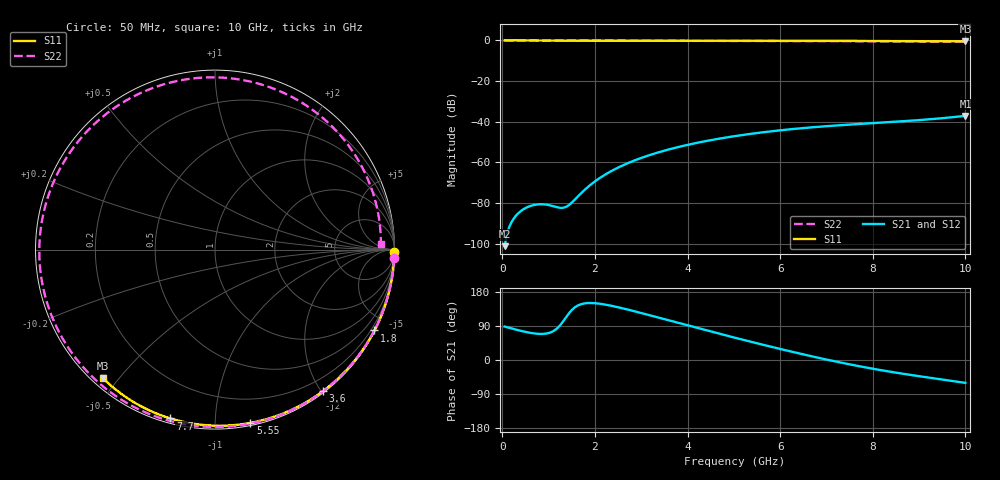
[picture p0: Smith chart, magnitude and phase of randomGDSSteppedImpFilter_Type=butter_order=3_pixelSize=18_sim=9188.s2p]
! freq	dB(S11)	phase(S11)	dB(S12)	phase(S12)
!  dB(S21)	phase(S21)	dB(S22)	phase(S22)
!S-par simulation data
#  GHz  S  DB  R 50
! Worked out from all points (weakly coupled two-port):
!   200 points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, 50 MHz to 10 GHz, reference 50 ohm
!   highest |S21| = -37.09 dB at 10 GHz (marker M1); lowest = -101.2 dB at 50 MHz (marker M2)
!   lowest |S11| = -0.4 dB at 10 GHz (marker M3), VSWR 39.08, Z = 1.54 - j22.7 ohm
!   |S11| at or under -10 dB: nowhere
!   |S22| runs from -0.7 to 0.0 dB; largest |S21 - S12| = 0
!   S11 on the Smith chart (normalised r, x): 50 MHz: open; 1.8 GHz: 0.04, -4.19; 3.6 GHz: 0.02, -2.03; 5.55 GHz: 0.02, -1.22; 7.7 GHz: 0.02, -0.77; 10 GHz: 0.03, -0.45
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0.05  -0.00 -0.8  -101.17 88.3  -101.17 88.3  -0.00 -2.7
0.4  -0.01 -6.0  -83.90 77.0  -83.90 77.0  -0.03 -21.6
0.8  -0.02 -12.0  -80.57 68.9  -80.57 68.9  -0.05 -42.6
1.15  -0.02 -17.3  -81.81 80.0  -81.81 80.0  -0.07 -60.0
1.45  -0.03 -21.7  -80.75 124.9  -80.75 124.9  -0.09 -74.2
1.5  -0.03 -22.5  -79.75 131.8  -79.75 131.8  -0.09 -76.4
1.75  -0.03 -26.1  -74.08 148.8  -74.08 148.8  -0.10 -87.5
1.8  -0.03 -26.9  -73.04 149.7  -73.04 149.7  -0.10 -89.7
2.1  -0.04 -31.2  -67.73 148.6  -67.73 148.6  -0.11 -102.1
2.45  -0.05 -36.3  -63.09 140.6  -63.09 140.6  -0.12 -115.7
2.95  -0.06 -43.4  -58.19 125.6  -58.19 125.6  -0.14 -133.7
3.4  -0.07 -49.8  -54.84 111.0  -54.84 111.0  -0.15 -148.7
3.6  -0.07 -52.5  -53.57 104.5  -53.57 104.5  -0.15 -155.1
4.3  -0.09 -62.1  -49.91 81.8  -49.91 81.8  -0.18 -176.4
5.05  -0.11 -72.0  -46.95 58.0  -46.95 58.0  -0.21 161.7
5.55  -0.13 -78.5  -45.38 42.6  -45.38 42.6  -0.24 147.2
6.7  -0.18 -92.8  -42.69 9.3  -42.69 9.3  -0.31 113.1
7.2  -0.21 -98.9  -41.83 -4.0  -41.83 -4.0  -0.34 97.6
7.7  -0.24 -104.8  -41.09 -16.3  -41.09 -16.3  -0.38 81.6
8.35  -0.29 -112.4  -40.19 -30.4  -40.19 -30.4  -0.44 59.9
9.25  -0.37 -122.7  -38.73 -47.2  -38.73 -47.2  -0.54 28.5
10  -0.44 -131.1  -37.09 -60.4  -37.09 -60.4  -0.68 1.8
